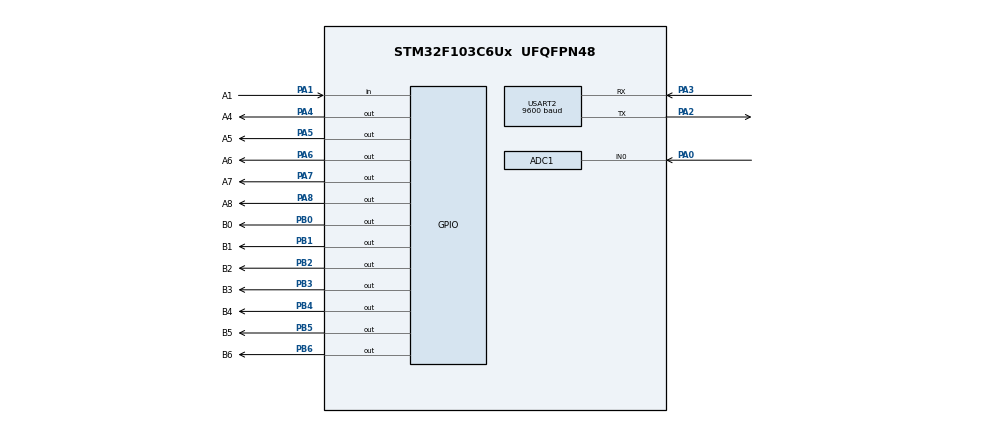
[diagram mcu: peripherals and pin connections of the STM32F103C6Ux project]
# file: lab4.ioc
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ADC1.Channel-0\#ChannelRegularConversion=ADC_CHANNEL_0
ADC1.ContinuousConvMode=ENABLE
ADC1.NbrOfConversionFlag=1
ADC1.Rank-0\#ChannelRegularConversion=1
ADC1.SamplingTime-0\#ChannelRegularConversion=ADC_SAMPLETIME_1CYCLE_5
ADC1.master=1
Mcu.Family=STM32F1
Mcu.Name=STM32F103C6Ux
Mcu.Package=UFQFPN48
NVIC.PriorityGroup=NVIC_PRIORITYGROUP_4
NVIC.TIM2_IRQn=true\:0\:0\:false\:false\:true\:true\:true
NVIC.USART2_IRQn=true\:0\:0\:false\:false\:true\:true\:true
PA0-WKUP.Signal=ADCx_IN0
PA1.GPIO_Label=A1
PA1.GPIO_PuPd=GPIO_PULLUP
PA1.Signal=GPIO_Input
PA2.Mode=Asynchronous
PA2.Signal=USART2_TX
PA3.Mode=Asynchronous
PA3.Signal=USART2_RX
PA4.GPIO_Label=A4
PA4.Signal=GPIO_Output
PA5.GPIO_Label=A5
PA5.Signal=GPIO_Output
PA6.GPIO_Label=A6
PA6.Signal=GPIO_Output
PA7.GPIO_Label=A7
PA7.Signal=GPIO_Output
PA8.GPIO_Label=A8
PA8.Signal=GPIO_Output
PB0.GPIO_Label=B0
PB0.Signal=GPIO_Output
PB1.GPIO_Label=B1
PB1.Signal=GPIO_Output
PB2.GPIO_Label=B2
PB2.Signal=GPIO_Output
PB3.GPIO_Label=B3
PB3.Signal=GPIO_Output
PB4.GPIO_Label=B4
PB4.Signal=GPIO_Output
PB5.GPIO_Label=B5
PB5.Signal=GPIO_Output
PB6.GPIO_Label=B6
PB6.Signal=GPIO_Output
ProjectManager.HeapSize=0x200
ProjectManager.StackSize=0x400
ProjectManager.TargetToolchain=STM32CubeIDE
RCC.APB1Freq_Value=8000000
RCC.APB2Freq_Value=8000000
SH.ADCx_IN0.0=ADC1_IN0,IN0
TIM2.Period=9
TIM2.Prescaler=7999
USART2.BaudRate=9600
USART2.VirtualMode=VM_ASYNC
VP_SYS_VS_ND.Mode=No_Debug
VP_TIM2_VS_ClockSourceINT.Mode=Internal
board=custom

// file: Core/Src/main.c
/* USER CODE BEGIN Header */
/**
  ******************************************************************************
  * @file           : main.c
  * @brief          : Main program body
  ******************************************************************************
  * @attention
  *
  * <h2><center>&copy; Copyright (c) 2022 STMicroelectronics.
  * All rights reserved.</center></h2>
  *
  * This software component is licensed by ST under BSD 3-Clause license,
  * the "License"; You may not use this file except in compliance with the
  * License. You may obtain a copy of the License at:
  *                        opensource.org/licenses/BSD-3-Clause
  *
  ******************************************************************************
  */
/* USER CODE END Header */
#include "main.h"

/* USER CODE BEGIN Includes */
#include "global.h"
/* USER CODE END Includes */

ADC_HandleTypeDef hadc1;

TIM_HandleTypeDef htim2;

UART_HandleTypeDef huart2;

void SystemClock_Config(void);
static void MX_TIM2_Init(void);
static void MX_GPIO_Init(void);
static void MX_ADC1_Init(void);
static void MX_USART2_UART_Init(void);

/* USER CODE BEGIN 0 */
uint8_t character = 0;

void HAL_UART_RxcpltCallback(UART_HandleTypeDef *huart){

	if(huart->Instance == USART2){

			buffer_rx[index_buffer++] = character;
			if(index_buffer == 30) index_buffer = 0;

			buffer_flag = 1;
			HAL_UART_Receive_IT(&huart2, &character, 1);
		}
}

/* USER CODE END 0 */

int main(void)
{

  /* MCU Configuration--------------------------------------------------------*/

  /* Reset of all peripherals, Initializes the Flash interface and the Systick. */
  HAL_Init();

  /* Configure the system clock */
  SystemClock_Config();

  /* Initialize all configured peripherals */
  MX_TIM2_Init();
  MX_GPIO_Init();
  MX_ADC1_Init();
  MX_USART2_UART_Init();
  /* USER CODE BEGIN 2 */
  HAL_TIM_Base_Start_IT(&htim2);
  /* USER CODE END 2 */

  /* Infinite loop */
  /* USER CODE BEGIN WHILE */
  HAL_ADC_Start(&hadc1);

  HAL_UART_Receive_IT(&huart2, &character, 1);
  setTimer2(1000);

  while (1)
  {
	  if(timer2_flag){
		  HAL_GPIO_TogglePin(A5_GPIO_Port, A5_Pin);
	  }
    /* USER CODE END WHILE */

    /* USER CODE BEGIN 3 */
	  if(buffer_flag){
		  buffer_flag = 0;
		  cmd_parser();
	  }
	  uart_communication();

  }
  /* USER CODE END 3 */
}

void SystemClock_Config(void)
{
  RCC_OscInitTypeDef RCC_OscInitStruct = {0};
  RCC_ClkInitTypeDef RCC_ClkInitStruct = {0};
  RCC_PeriphCLKInitTypeDef PeriphClkInit = {0};

  /** Initializes the RCC Oscillators according to the specified parameters
  * in the RCC_OscInitTypeDef structure.
  */
  RCC_OscInitStruct.OscillatorType = RCC_OSCILLATORTYPE_HSI;
  RCC_OscInitStruct.HSIState = RCC_HSI_ON;
  RCC_OscInitStruct.HSICalibrationValue = RCC_HSICALIBRATION_DEFAULT;
  RCC_OscInitStruct.PLL.PLLState = RCC_PLL_NONE;
  if (HAL_RCC_OscConfig(&RCC_OscInitStruct) != HAL_OK)
  {
    Error_Handler();
  }
  /** Initializes the CPU, AHB and APB buses clocks
  */
  RCC_ClkInitStruct.ClockType = RCC_CLOCKTYPE_HCLK|RCC_CLOCKTYPE_SYSCLK
                              |RCC_CLOCKTYPE_PCLK1|RCC_CLOCKTYPE_PCLK2;
  RCC_ClkInitStruct.SYSCLKSource = RCC_SYSCLKSOURCE_HSI;
  RCC_ClkInitStruct.AHBCLKDivider = RCC_SYSCLK_DIV1;
  RCC_ClkInitStruct.APB1CLKDivider = RCC_HCLK_DIV1;
  RCC_ClkInitStruct.APB2CLKDivider = RCC_HCLK_DIV1;

  if (HAL_RCC_ClockConfig(&RCC_ClkInitStruct, FLASH_LATENCY_0) != HAL_OK)
  {
    Error_Handler();
  }
  PeriphClkInit.PeriphClockSelection = RCC_PERIPHCLK_ADC;
  PeriphClkInit.AdcClockSelection = RCC_ADCPCLK2_DIV2;
  if (HAL_RCCEx_PeriphCLKConfig(&PeriphClkInit) != HAL_OK)
  {
    Error_Handler();
  }
}

static void MX_ADC1_Init(void)
{

  ADC_ChannelConfTypeDef sConfig = {0};

  /** Common config
  */
  hadc1.Instance = ADC1;
  hadc1.Init.ScanConvMode = ADC_SCAN_DISABLE;
  hadc1.Init.ContinuousConvMode = ENABLE;
  hadc1.Init.DiscontinuousConvMode = DISABLE;
  hadc1.Init.ExternalTrigConv = ADC_SOFTWARE_START;
  hadc1.Init.DataAlign = ADC_DATAALIGN_RIGHT;
  hadc1.Init.NbrOfConversion = 1;
  if (HAL_ADC_Init(&hadc1) != HAL_OK)
  {
    Error_Handler();
  }
  /** Configure Regular Channel
  */
  sConfig.Channel = ADC_CHANNEL_0;
  sConfig.Rank = ADC_REGULAR_RANK_1;
  sConfig.SamplingTime = ADC_SAMPLETIME_1CYCLE_5;
  if (HAL_ADC_ConfigChannel(&hadc1, &sConfig) != HAL_OK)
  {
    Error_Handler();
  }

}

static void MX_TIM2_Init(void)
{

  TIM_ClockConfigTypeDef sClockSourceConfig = {0};
  TIM_MasterConfigTypeDef sMasterConfig = {0};

  htim2.Instance = TIM2;
  htim2.Init.Prescaler = 7999;
  htim2.Init.CounterMode = TIM_COUNTERMODE_UP;
  htim2.Init.Period = 9;
  htim2.Init.ClockDivision = TIM_CLOCKDIVISION_DIV1;
  htim2.Init.AutoReloadPreload = TIM_AUTORELOAD_PRELOAD_DISABLE;
  if (HAL_TIM_Base_Init(&htim2) != HAL_OK)
  {
    Error_Handler();
  }
  sClockSourceConfig.ClockSource = TIM_CLOCKSOURCE_INTERNAL;
  if (HAL_TIM_ConfigClockSource(&htim2, &sClockSourceConfig) != HAL_OK)
  {
    Error_Handler();
  }
  sMasterConfig.MasterOutputTrigger = TIM_TRGO_RESET;
  sMasterConfig.MasterSlaveMode = TIM_MASTERSLAVEMODE_DISABLE;
  if (HAL_TIMEx_MasterConfigSynchronization(&htim2, &sMasterConfig) != HAL_OK)
  {
    Error_Handler();
  }

}

static void MX_USART2_UART_Init(void)
{

  huart2.Instance = USART2;
  huart2.Init.BaudRate = 9600;
  huart2.Init.WordLength = UART_WORDLENGTH_8B;
  huart2.Init.StopBits = UART_STOPBITS_1;
  huart2.Init.Parity = UART_PARITY_NONE;
  huart2.Init.Mode = UART_MODE_TX_RX;
  huart2.Init.HwFlowCtl = UART_HWCONTROL_NONE;
  huart2.Init.OverSampling = UART_OVERSAMPLING_16;
  if (HAL_UART_Init(&huart2) != HAL_OK)
  {
    Error_Handler();
  }

}

static void MX_GPIO_Init(void)
{
  GPIO_InitTypeDef GPIO_InitStruct = {0};

  /* GPIO Ports Clock Enable */
  __HAL_RCC_GPIOA_CLK_ENABLE();
  __HAL_RCC_GPIOB_CLK_ENABLE();

  /*Configure GPIO pin Output Level */
  HAL_GPIO_WritePin(GPIOA, A4_Pin|A5_Pin|A6_Pin|A7_Pin
                          |A8_Pin, GPIO_PIN_RESET);

  /*Configure GPIO pin Output Level */
  HAL_GPIO_WritePin(GPIOB, B0_Pin|B1_Pin|B2_Pin|B3_Pin
                          |B4_Pin|B5_Pin|B6_Pin, GPIO_PIN_RESET);

  /*Configure GPIO pin : A1_Pin */
  GPIO_InitStruct.Pin = A1_Pin;
  GPIO_InitStruct.Mode = GPIO_MODE_INPUT;
  GPIO_InitStruct.Pull = GPIO_PULLUP;
  HAL_GPIO_Init(A1_GPIO_Port, &GPIO_InitStruct);

  /*Configure GPIO pins : A4_Pin A5_Pin A6_Pin A7_Pin
                           A8_Pin */
  GPIO_InitStruct.Pin = A4_Pin|A5_Pin|A6_Pin|A7_Pin
                          |A8_Pin;
  GPIO_InitStruct.Mode = GPIO_MODE_OUTPUT_PP;
  GPIO_InitStruct.Pull = GPIO_NOPULL;
  GPIO_InitStruct.Speed = GPIO_SPEED_FREQ_LOW;
  HAL_GPIO_Init(GPIOA, &GPIO_InitStruct);

  /*Configure GPIO pins : B0_Pin B1_Pin B2_Pin B3_Pin
                           B4_Pin B5_Pin B6_Pin */
  GPIO_InitStruct.Pin = B0_Pin|B1_Pin|B2_Pin|B3_Pin
                          |B4_Pin|B5_Pin|B6_Pin;
  GPIO_InitStruct.Mode = GPIO_MODE_OUTPUT_PP;
  GPIO_InitStruct.Pull = GPIO_NOPULL;
  GPIO_InitStruct.Speed = GPIO_SPEED_FREQ_LOW;
  HAL_GPIO_Init(GPIOB, &GPIO_InitStruct);

}

/* USER CODE BEGIN 4 */
void HAL_TIM_PeriodElapsedCallback(TIM_HandleTypeDef *htim){
	TimerRun();
}
/* USER CODE END 4 */

void Error_Handler(void)
{
  __disable_irq();
  while (1)
  {
  }
}

/************************ (C) COPYRIGHT STMicroelectronics *****END OF FILE****/
